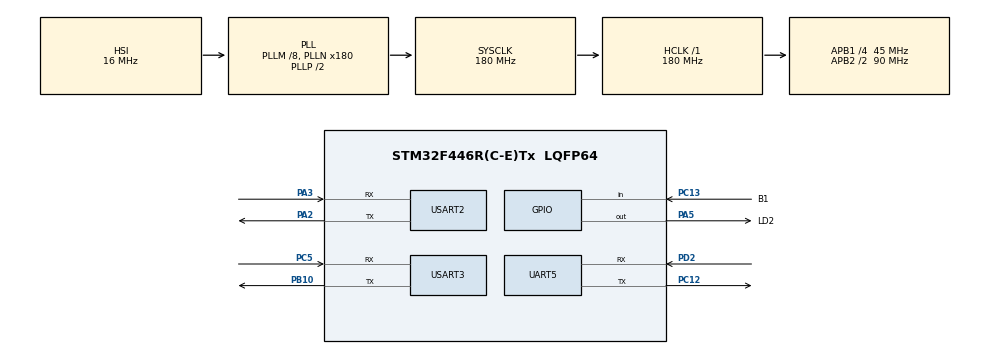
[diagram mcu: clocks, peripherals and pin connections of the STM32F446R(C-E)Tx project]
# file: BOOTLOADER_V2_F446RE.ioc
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Mcu.Family=STM32F4
Mcu.Name=STM32F446R(C-E)Tx
Mcu.Package=LQFP64
NVIC.PriorityGroup=NVIC_PRIORITYGROUP_4
PA2.Mode=Asynchronous
PA2.Signal=USART2_TX
PA3.Mode=Asynchronous
PA3.Signal=USART2_RX
PA5.GPIO_Label=LD2
PA5.Signal=GPIO_Output
PB10.Mode=Asynchronous
PB10.Signal=USART3_TX
PC12.Mode=Asynchronous
PC12.Signal=UART5_TX
PC13.GPIO_Label=B1
PC13.Signal=GPIO_Input
PC5.Mode=Asynchronous
PC5.Signal=USART3_RX
PD2.Mode=Asynchronous
PD2.Signal=UART5_RX
ProjectManager.HeapSize=0x200
ProjectManager.StackSize=0x400
ProjectManager.TargetToolchain=STM32CubeIDE
RCC.AHBFreq_Value=180000000
RCC.APB1CLKDivider=RCC_HCLK_DIV4
RCC.APB1Freq_Value=45000000
RCC.APB1TimFreq_Value=90000000
RCC.APB2CLKDivider=RCC_HCLK_DIV2
RCC.APB2Freq_Value=90000000
RCC.APB2TimFreq_Value=180000000
RCC.CortexFreq_Value=180000000
RCC.HCLKFreq_Value=180000000
RCC.PLLM=8
RCC.PLLN=180
RCC.SYSCLKFreq_VALUE=180000000
RCC.SYSCLKSource=RCC_SYSCLKSOURCE_PLLCLK
RCC.USBFreq_Value=180000000
RCC.VCOOutputFreq_Value=360000000
UART5.VirtualMode=Asynchronous
USART2.VirtualMode=VM_ASYNC
USART3.VirtualMode=VM_ASYNC
VP_CRC_VS_CRC.Mode=CRC_Activate
board=custom

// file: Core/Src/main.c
/* USER CODE BEGIN Header */
/**
  ******************************************************************************
  * @file           : main.c
  * @brief          : Main program body
  ******************************************************************************
  * @attention
  *
  * Copyright (c) 2025 STMicroelectronics.
  * All rights reserved.
  *
  * This software is licensed under terms that can be found in the LICENSE file
  * in the root directory of this software component.
  * If no LICENSE file comes with this software, it is provided AS-IS.
  *
  ******************************************************************************
  */
/* USER CODE END Header */
#include "main.h"

/* USER CODE BEGIN Includes */

#include "bootloader.h"

/* USER CODE END Includes */

CRC_HandleTypeDef hcrc;

UART_HandleTypeDef huart5;
UART_HandleTypeDef huart2;
UART_HandleTypeDef huart3;

void SystemClock_Config(void);
static void MX_GPIO_Init(void);
static void MX_CRC_Init(void);
static void MX_USART2_UART_Init(void);
static void MX_USART3_UART_Init(void);
static void MX_UART5_Init(void);

/* USER CODE BEGIN 0 */
void bootloader_main(void)
{
	if(HAL_GPIO_ReadPin(B1_GPIO_Port, B1_Pin) == GPIO_PIN_RESET)
	{
		C_UART = &huart5;
		printmsg("button pressed...entering the bootloader mode\n");
		bootloader_uart_read_data();
	}
	else
	{
		uint8_t rx_byte = 0;
		HAL_StatusTypeDef status;
		// Wait for 1 byte for up to 3 seconds
		status = HAL_UART_Receive(&huart3, &rx_byte, 1, UART_TIMEOUT_MS);
		if (status == HAL_OK && rx_byte == BOOT_CMD)
		{
			C_UART = &huart3;
			printmsg("BOOT_CMD (0x50) received...entering bootloader mode\n\r");
			bootloader_uart_read_data();
		}
		else
		{
			printmsg("No valid BOOT_CMD received...jumping to application\n\r");
			bootloader_jump_to_user_app();
		}
	}
}

void DisplayMessage(char* message)
{
    fillRect(0, 60 + (current_line * 20), DISPLAY_WIDTH, 20, BLACK);
    ST7735_WriteString(0, 60 + (current_line * 20), message, Font_7x10, RED, BLACK);

    current_line++;
    if (current_line > 1) {  // Reset after 4 message lines
        current_line = 0;
        // Clear all message areas
        fillRect(0, 60, DISPLAY_WIDTH, 80, BLACK);
    }
}

void ClearInputLine(void)
{
    fillRect(0, 0, DISPLAY_WIDTH, 26, BLACK);
}
/* USER CODE END 0 */

int main(void)
{

  /* MCU Configuration--------------------------------------------------------*/

  /* Reset of all peripherals, Initializes the Flash interface and the Systick. */
  HAL_Init();

  /* Configure the system clock */
  SystemClock_Config();

  /* Initialize all configured peripherals */
  MX_GPIO_Init();
  MX_CRC_Init();
  MX_USART2_UART_Init();
  MX_USART3_UART_Init();
  MX_UART5_Init();
  /* USER CODE BEGIN 2 */
  printmsg("bootloader running....\n");
  bootloader_main();
  /* USER CODE END 2 */

  /* Infinite loop */
  while (1)
  {

  }
}

void SystemClock_Config(void)
{
  RCC_OscInitTypeDef RCC_OscInitStruct = {0};
  RCC_ClkInitTypeDef RCC_ClkInitStruct = {0};

  /** Configure the main internal regulator output voltage
  */
  __HAL_RCC_PWR_CLK_ENABLE();
  __HAL_PWR_VOLTAGESCALING_CONFIG(PWR_REGULATOR_VOLTAGE_SCALE1);

  /** Initializes the RCC Oscillators according to the specified parameters
  * in the RCC_OscInitTypeDef structure.
  */
  RCC_OscInitStruct.OscillatorType = RCC_OSCILLATORTYPE_HSI;
  RCC_OscInitStruct.HSIState = RCC_HSI_ON;
  RCC_OscInitStruct.HSICalibrationValue = RCC_HSICALIBRATION_DEFAULT;
  RCC_OscInitStruct.PLL.PLLState = RCC_PLL_ON;
  RCC_OscInitStruct.PLL.PLLSource = RCC_PLLSOURCE_HSI;
  RCC_OscInitStruct.PLL.PLLM = 8;
  RCC_OscInitStruct.PLL.PLLN = 180;
  RCC_OscInitStruct.PLL.PLLP = RCC_PLLP_DIV2;
  RCC_OscInitStruct.PLL.PLLQ = 2;
  RCC_OscInitStruct.PLL.PLLR = 2;
  if (HAL_RCC_OscConfig(&RCC_OscInitStruct) != HAL_OK)
  {
    Error_Handler();
  }

  /** Activate the Over-Drive mode
  */
  if (HAL_PWREx_EnableOverDrive() != HAL_OK)
  {
    Error_Handler();
  }

  /** Initializes the CPU, AHB and APB buses clocks
  */
  RCC_ClkInitStruct.ClockType = RCC_CLOCKTYPE_HCLK|RCC_CLOCKTYPE_SYSCLK
                              |RCC_CLOCKTYPE_PCLK1|RCC_CLOCKTYPE_PCLK2;
  RCC_ClkInitStruct.SYSCLKSource = RCC_SYSCLKSOURCE_PLLCLK;
  RCC_ClkInitStruct.AHBCLKDivider = RCC_SYSCLK_DIV1;
  RCC_ClkInitStruct.APB1CLKDivider = RCC_HCLK_DIV4;
  RCC_ClkInitStruct.APB2CLKDivider = RCC_HCLK_DIV2;

  if (HAL_RCC_ClockConfig(&RCC_ClkInitStruct, FLASH_LATENCY_5) != HAL_OK)
  {
    Error_Handler();
  }
}

static void MX_CRC_Init(void)
{

  hcrc.Instance = CRC;
  if (HAL_CRC_Init(&hcrc) != HAL_OK)
  {
    Error_Handler();
  }

}

static void MX_UART5_Init(void)
{

  huart5.Instance = UART5;
  huart5.Init.BaudRate = 115200;
  huart5.Init.WordLength = UART_WORDLENGTH_8B;
  huart5.Init.StopBits = UART_STOPBITS_1;
  huart5.Init.Parity = UART_PARITY_NONE;
  huart5.Init.Mode = UART_MODE_TX_RX;
  huart5.Init.HwFlowCtl = UART_HWCONTROL_NONE;
  huart5.Init.OverSampling = UART_OVERSAMPLING_16;
  if (HAL_UART_Init(&huart5) != HAL_OK)
  {
    Error_Handler();
  }

}

static void MX_USART2_UART_Init(void)
{

  huart2.Instance = USART2;
  huart2.Init.BaudRate = 115200;
  huart2.Init.WordLength = UART_WORDLENGTH_8B;
  huart2.Init.StopBits = UART_STOPBITS_1;
  huart2.Init.Parity = UART_PARITY_NONE;
  huart2.Init.Mode = UART_MODE_TX_RX;
  huart2.Init.HwFlowCtl = UART_HWCONTROL_NONE;
  huart2.Init.OverSampling = UART_OVERSAMPLING_16;
  if (HAL_UART_Init(&huart2) != HAL_OK)
  {
    Error_Handler();
  }

}

static void MX_USART3_UART_Init(void)
{

  huart3.Instance = USART3;
  huart3.Init.BaudRate = 115200;
  huart3.Init.WordLength = UART_WORDLENGTH_8B;
  huart3.Init.StopBits = UART_STOPBITS_1;
  huart3.Init.Parity = UART_PARITY_NONE;
  huart3.Init.Mode = UART_MODE_TX_RX;
  huart3.Init.HwFlowCtl = UART_HWCONTROL_NONE;
  huart3.Init.OverSampling = UART_OVERSAMPLING_16;
  if (HAL_UART_Init(&huart3) != HAL_OK)
  {
    Error_Handler();
  }

}

static void MX_GPIO_Init(void)
{
  GPIO_InitTypeDef GPIO_InitStruct = {0};

  /* GPIO Ports Clock Enable */
  __HAL_RCC_GPIOC_CLK_ENABLE();
  __HAL_RCC_GPIOA_CLK_ENABLE();
  __HAL_RCC_GPIOB_CLK_ENABLE();
  __HAL_RCC_GPIOD_CLK_ENABLE();

  /*Configure GPIO pin Output Level */
  HAL_GPIO_WritePin(LD2_GPIO_Port, LD2_Pin, GPIO_PIN_RESET);

  /*Configure GPIO pin : B1_Pin */
  GPIO_InitStruct.Pin = B1_Pin;
  GPIO_InitStruct.Mode = GPIO_MODE_INPUT;
  GPIO_InitStruct.Pull = GPIO_NOPULL;
  HAL_GPIO_Init(B1_GPIO_Port, &GPIO_InitStruct);

  /*Configure GPIO pin : LD2_Pin */
  GPIO_InitStruct.Pin = LD2_Pin;
  GPIO_InitStruct.Mode = GPIO_MODE_OUTPUT_PP;
  GPIO_InitStruct.Pull = GPIO_NOPULL;
  GPIO_InitStruct.Speed = GPIO_SPEED_FREQ_LOW;
  HAL_GPIO_Init(LD2_GPIO_Port, &GPIO_InitStruct);

}

void Error_Handler(void)
{
  __disable_irq();
  while (1)
  {
  }
}
